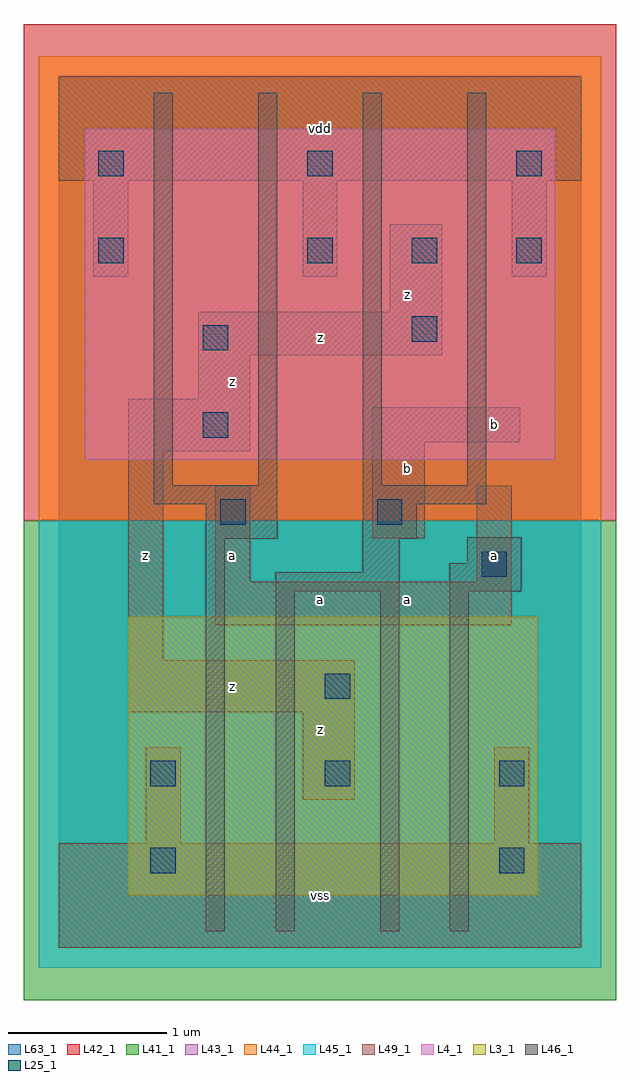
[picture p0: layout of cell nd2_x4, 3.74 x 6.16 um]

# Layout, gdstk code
import gdstk
lib = gdstk.Library(unit=1e-6, precision=1e-09)
def R(c, l, rs):  # rectangles x0, y0, x1, y1
    for r in rs: c.add(gdstk.rectangle(r[:2], r[2:], *l))
def A(c, l, x, y, w, h, nx, ny, dx, dy):  # array of equal rectangles
    R(c, l, [(x+i*dx, y+j*dy, x+i*dx+w, y+j*dy+h) for i in range(nx) for j in range(ny)])
L3_1 = (3, 1)
L4_1 = (4, 1)
L25_1 = (25, 1)
L41_1 = (41, 1)
L42_1 = (42, 1)
L43_1 = (43, 1)
L44_1 = (44, 1)
L45_1 = (45, 1)
L46_1 = (46, 1)
L49_1 = (49, 1)
L63_1 = (63, 1)

nd2_x4 = lib.new_cell('nd2_x4')
R(nd2_x4, L3_1, [(0.44,0.33,3.025,2.09)])
R(nd2_x4, L4_1, [(0.165,3.08,3.135,5.17)])
A(nd2_x4, L25_1, 0.58, 1.02, 0.16, 0.16, 3, 1, 1.1, 0)
A(nd2_x4, L25_1, 1.57, 4.32, 0.16, 0.16, 3, 1, 0.66, 0)
A(nd2_x4, L25_1, 0.25, 4.87, 0.16, 0.16, 3, 1, 1.32, 0)
R(nd2_x4, L25_1, [(0.58,0.47,0.74,0.63), (2.78,0.47,2.94,0.63), (1.68,1.57,1.84,1.73), (2.67,2.34,2.83,2.5), (1.02,2.67,1.18,2.83), (2.01,2.67,2.17,2.83), (0.91,3.22,1.07,3.38), (0.91,3.77,1.07,3.93), (2.23,3.825,2.39,3.985), (0.25,4.32,0.41,4.48)])
R(nd2_x4, L41_1, [(-0.22,-0.33,3.52,2.695)])
R(nd2_x4, L42_1, [(-0.22,2.695,3.52,5.83)])
R(nd2_x4, L43_1, [(0.44,0.33,3.025,2.09), (0.165,3.08,3.135,5.17)])
R(nd2_x4, L44_1, [(-0.125,2.695,3.425,5.625)])
R(nd2_x4, L45_1, [(-0.125,-0.125,3.425,2.695)])
A(nd2_x4, L46_1, 0.6, 2.92, 0.12, 2.475, 4, 1, 0.66, 0)
R(nd2_x4, L46_1, [(0.93,0.105,1.05,2.58), (1.37,0.105,1.49,2.25), (2.03,0.105,2.15,2.25), (2.47,0.105,2.59,2.25), (1.37,2.25,2.15,2.37), (2.47,2.25,2.92,2.425), (1.92,2.37,2.15,2.58), (2.58,2.425,2.92,2.59), (0.93,2.58,1.38,2.8), (1.92,2.58,2.26,2.8), (0.6,2.8,1.38,2.92), (1.92,2.8,2.7,2.92)])
A(nd2_x4, L49_1, 0.22, 4.235, 0.22, 0.605, 3, 1, 1.32, 0)
R(nd2_x4, L49_1, [(0,0,3.3,0.66), (0.55,0.66,0.77,1.265), (2.75,0.66,2.97,1.265), (1.54,0.935,1.87,1.485), (0.44,1.485,1.87,1.815), (0.44,1.815,0.66,3.135), (0.99,2.035,2.86,2.31), (0.99,2.31,1.21,2.915), (2.64,2.31,2.86,2.915), (1.98,2.585,2.31,3.19), (0.44,3.135,1.21,3.465), (1.98,3.19,2.915,3.41), (0.88,3.465,1.21,3.74), (0.88,3.74,2.42,4.015), (2.09,4.015,2.42,4.565), (0,4.84,3.3,5.5)])
R(nd2_x4, L63_1, [(0,0,3.3,5.5)])
nd2_x4.add(gdstk.Label('z', (1.1,1.65), layer=49, texttype=1))
nd2_x4.add(gdstk.Label('z', (1.1,1.65), layer=49, texttype=1))
nd2_x4.add(gdstk.Label('z', (0.55,2.475), layer=49, texttype=1))
nd2_x4.add(gdstk.Label('z', (0.55,2.475), layer=49, texttype=1))
nd2_x4.add(gdstk.Label('a', (1.1,2.475), layer=49, texttype=1))
nd2_x4.add(gdstk.Label('a', (1.1,2.475), layer=49, texttype=1))
nd2_x4.add(gdstk.Label('z', (1.1,3.575), layer=49, texttype=1))
nd2_x4.add(gdstk.Label('z', (1.1,3.575), layer=49, texttype=1))
nd2_x4.add(gdstk.Label('vss', (1.65,0.33), layer=49, texttype=1))
nd2_x4.add(gdstk.Label('vss', (1.65,0.33), layer=49, texttype=1))
nd2_x4.add(gdstk.Label('z', (1.65,1.375), layer=49, texttype=1))
nd2_x4.add(gdstk.Label('z', (1.65,1.375), layer=49, texttype=1))
nd2_x4.add(gdstk.Label('a', (1.65,2.2), layer=49, texttype=1))
nd2_x4.add(gdstk.Label('a', (1.65,2.2), layer=49, texttype=1))
nd2_x4.add(gdstk.Label('z', (1.65,3.85), layer=49, texttype=1))
nd2_x4.add(gdstk.Label('z', (1.65,3.85), layer=49, texttype=1))
nd2_x4.add(gdstk.Label('vdd', (1.65,5.17), layer=49, texttype=1))
nd2_x4.add(gdstk.Label('vdd', (1.65,5.17), layer=49, texttype=1))
nd2_x4.add(gdstk.Label('a', (2.2,2.2), layer=49, texttype=1))
nd2_x4.add(gdstk.Label('a', (2.2,2.2), layer=49, texttype=1))
nd2_x4.add(gdstk.Label('b', (2.2,3.025), layer=49, texttype=1))
nd2_x4.add(gdstk.Label('b', (2.2,3.025), layer=49, texttype=1))
nd2_x4.add(gdstk.Label('z', (2.2,4.125), layer=49, texttype=1))
nd2_x4.add(gdstk.Label('z', (2.2,4.125), layer=49, texttype=1))
nd2_x4.add(gdstk.Label('a', (2.75,2.475), layer=49, texttype=1))
nd2_x4.add(gdstk.Label('a', (2.75,2.475), layer=49, texttype=1))
nd2_x4.add(gdstk.Label('b', (2.75,3.3), layer=49, texttype=1))
nd2_x4.add(gdstk.Label('b', (2.75,3.3), layer=49, texttype=1))

lib.write_gds('nd2_x4.gds')
